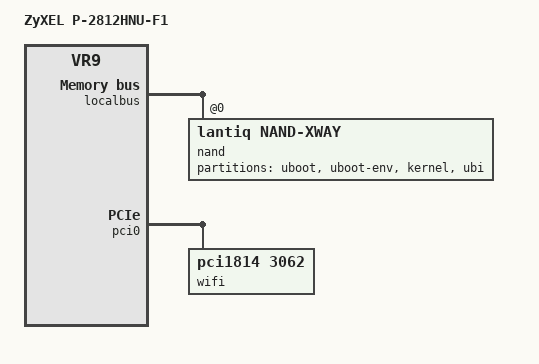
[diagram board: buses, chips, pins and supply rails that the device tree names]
/dts-v1/;

#include "P2812HNUFX.dtsi"

/ {
	compatible = "zyxel,p-2812hnu-f1", "zyxel,p-2812hnu", "lantiq,xway", "lantiq,vr9";
	model = "ZyXEL P-2812HNU-F1";

	aliases {
		led-usb = &led_usb1;
		led-usb2 = &led_usb2;
	};

	gpio-leds {
		led_usb1: usb1 {
			label = "p2812hnuf1:green:usb1";
			gpios = <&gpio 38 GPIO_ACTIVE_LOW>;
		};
		led_usb2: usb2 {
			label = "p2812hnuf1:green:usb2";
			gpios = <&gpio 44 GPIO_ACTIVE_LOW>;
		};
	};
};

&localbus {
	nand@0 {
		compatible = "lantiq,nand-xway";
		lantiq,cs = <1>;
		bank-width = <2>;
		reg = <0 0x0 0x2000000>;
		#address-cells = <1>;
		#size-cells = <1>;

		partitions {
			compatible = "fixed-partitions";
			#address-cells = <1>;
			#size-cells = <1>;

			partition@0 {
				label = "uboot";
				reg = <0x00000 0x40000>;
			};
			partition@40000 {
				label = "uboot-env";
				reg = <0x40000 0x20000>;
			};
			partition@60000 {
				label = "kernel";
				reg = <0x60000 0x200000>;
			};
			partition@260000 {
				label = "ubi";
				reg = <0x260000 0x7da0000>;
			};
		};
	};
};

&pci0 {
	wifi@1814,3062 {
		compatible = "pci1814,3062";
		reg = <0x7000 0 0 0 0>;
		ralink,eeprom = "RT3062.eeprom";
	};
};

&pcie0 {
	status = "disabled";
};
